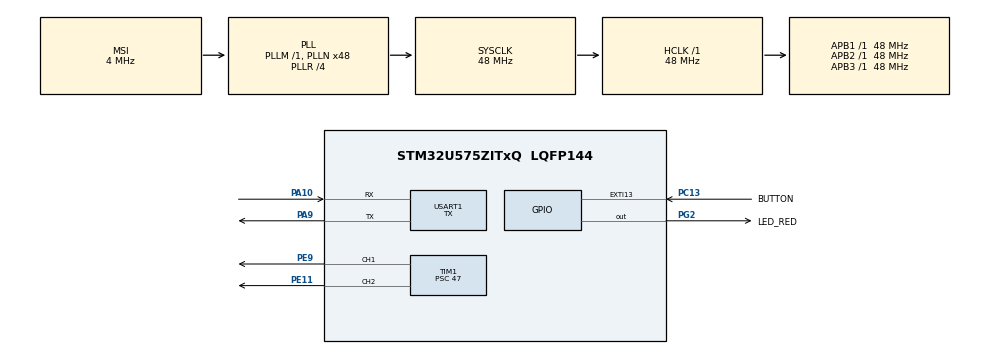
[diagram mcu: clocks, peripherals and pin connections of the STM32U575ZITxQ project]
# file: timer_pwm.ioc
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CORTEX_M33_NS.userName=CORTEX_M33
Mcu.Family=STM32U5
Mcu.Name=STM32U575ZITxQ
Mcu.Package=LQFP144
NVIC.EXTI13_IRQn=true\:5\:0\:true\:false\:true\:true\:true\:true
NVIC.PriorityGroup=NVIC_PRIORITYGROUP_4
PA10.Mode=Asynchronous
PA10.Signal=USART1_RX
PA9.Mode=Asynchronous
PA9.Signal=USART1_TX
PC13.GPIO_Label=BUTTON
PC13.GPIO_ModeDefaultEXTI=GPIO_MODE_IT_RISING_FALLING
PC13.Signal=GPXTI13
PC14-OSC32_IN\ (PC14).Mode=LSE-External-Oscillator
PC14-OSC32_IN\ (PC14).Signal=RCC_OSC32_IN
PC15-OSC32_OUT\ (PC15).Mode=LSE-External-Oscillator
PC15-OSC32_OUT\ (PC15).Signal=RCC_OSC32_OUT
PE11.Signal=S_TIM1_CH2
PE9.Signal=S_TIM1_CH1
PG2.GPIO_Label=LED_RED
PG2.Signal=GPIO_Output
PWR.PowerMode=PWR_SMPS_SUPPLY
ProjectManager.HeapSize=0x200
ProjectManager.StackSize=0x400
ProjectManager.TargetToolchain=STM32CubeIDE
RCC.ADCFreq_Value=16000000
RCC.AHBFreq_Value=48000000
RCC.APB1Freq_Value=48000000
RCC.APB1TimFreq_Value=48000000
RCC.APB2Freq_Value=48000000
RCC.APB2TimFreq_Value=48000000
RCC.APB3Freq_Value=48000000
RCC.CortexFreq_Value=48000000
RCC.EPOD_VALUE=4000000
RCC.HCLKFreq_Value=48000000
RCC.HSE_VALUE=16000000
RCC.HSI48_VALUE=48000000
RCC.HSI_VALUE=16000000
RCC.LSIDIV_VALUE=32000
RCC.MSIAutoCalibration=PLLMODE_MSIS
RCC.MSI_VALUE=4000000
RCC.PLL1R=4
RCC.PLLN=48
RCC.SYSCLKFreq_VALUE=48000000
RCC.SYSCLKSource=RCC_SYSCLKSOURCE_PLLCLK
RCC.USBFreq_Value=48000000
RCC.VCOOutputFreq_Value=192000000
SH.S_TIM1_CH1.0=TIM1_CH1,PWM Generation1 CH1
SH.S_TIM1_CH2.0=TIM1_CH2,PWM Generation2 CH2
TIM1.Channel-PWM\ Generation1\ CH1=TIM_CHANNEL_1
TIM1.Channel-PWM\ Generation2\ CH2=TIM_CHANNEL_2
TIM1.PeriodNoDither=999
TIM1.Prescaler=47
USART1.Mode=MODE_TX
USART1.VirtualMode-Asynchronous=VM_ASYNC
VP_ICACHE_VS_ICACHE.Mode=DirectMappedCache
VP_LPBAMQUEUE_VS_QUEUE.Mode=QUEUEMODE
VP_LPBAM_VS_SIG1.Mode=SmartRun
VP_LPBAM_VS_SIG4.Mode=LPDMA1
VP_MEMORYMAP_VS_MEMORYMAP.Mode=CurAppReg
VP_PWR_VS_LPOM.Mode=PowerOptimisation
VP_PWR_VS_SECSignals.Mode=Security/Privilege
board=custom

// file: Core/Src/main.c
/* USER CODE BEGIN Header */
/**
  ******************************************************************************
  * @file           : main.c
  * @brief          : Main program body
  ******************************************************************************
  * @attention
  *
  * Copyright (c) 2025 STMicroelectronics.
  * All rights reserved.
  *
  * This software is licensed under terms that can be found in the LICENSE file
  * in the root directory of this software component.
  * If no LICENSE file comes with this software, it is provided AS-IS.
  *
  ******************************************************************************
  */
/* USER CODE END Header */
#include "main.h"

/* USER CODE BEGIN Includes */
#include <stdio.h>
#include "interrupt_callbacks.h"
/* USER CODE END Includes */

TIM_HandleTypeDef htim1;

UART_HandleTypeDef huart1;

void SystemClock_Config(void);
static void SystemPower_Config(void);
static void MX_GPIO_Init(void);
static void MX_ICACHE_Init(void);
static void MX_USART1_UART_Init(void);
static void MX_TIM1_Init(void);

int main(void)
{

  /* MCU Configuration--------------------------------------------------------*/

  /* Reset of all peripherals, Initializes the Flash interface and the Systick. */
  HAL_Init();

  /* Configure the System Power */
  SystemPower_Config();

  /* Configure the system clock */
  SystemClock_Config();

  /* Initialize all configured peripherals */
  MX_GPIO_Init();
  MX_ICACHE_Init();
  MX_USART1_UART_Init();
  MX_TIM1_Init();
  /* USER CODE BEGIN 2 */
  printf("\r******* Start *******\r\n");
  __HAL_TIM_SET_COMPARE(&htim1, TIM_CHANNEL_1, 333U);
  HAL_TIM_PWM_Start(&htim1, TIM_CHANNEL_1);
  __HAL_TIM_SET_COMPARE(&htim1, TIM_CHANNEL_2, 800U);
  HAL_TIM_PWM_Start(&htim1, TIM_CHANNEL_2);
  /* USER CODE END 2 */

  /* Infinite loop */
  /* USER CODE BEGIN WHILE */
  while (1)
  {
	  if (button_rising) {
		  button_rising = 0U;
		  HAL_GPIO_WritePin(LED_RED_GPIO_Port, LED_RED_Pin, GPIO_PIN_SET);
	  }

	  if (button_falling) {
		  button_falling = 0U;
		  HAL_GPIO_WritePin(LED_RED_GPIO_Port, LED_RED_Pin, GPIO_PIN_RESET);
	  }
    /* USER CODE END WHILE */

  }
}

void SystemClock_Config(void)
{
  RCC_OscInitTypeDef RCC_OscInitStruct = {0};
  RCC_ClkInitTypeDef RCC_ClkInitStruct = {0};

  /** Configure the main internal regulator output voltage
  */
  if (HAL_PWREx_ControlVoltageScaling(PWR_REGULATOR_VOLTAGE_SCALE3) != HAL_OK)
  {
    Error_Handler();
  }

  /** Configure LSE Drive Capability
  */
  HAL_PWR_EnableBkUpAccess();
  __HAL_RCC_LSEDRIVE_CONFIG(RCC_LSEDRIVE_LOW);

  /** Initializes the CPU, AHB and APB buses clocks
  */
  RCC_OscInitStruct.OscillatorType = RCC_OSCILLATORTYPE_LSE|RCC_OSCILLATORTYPE_MSI;
  RCC_OscInitStruct.LSEState = RCC_LSE_ON;
  RCC_OscInitStruct.MSIState = RCC_MSI_ON;
  RCC_OscInitStruct.MSICalibrationValue = RCC_MSICALIBRATION_DEFAULT;
  RCC_OscInitStruct.MSIClockRange = RCC_MSIRANGE_4;
  RCC_OscInitStruct.PLL.PLLState = RCC_PLL_ON;
  RCC_OscInitStruct.PLL.PLLSource = RCC_PLLSOURCE_MSI;
  RCC_OscInitStruct.PLL.PLLMBOOST = RCC_PLLMBOOST_DIV1;
  RCC_OscInitStruct.PLL.PLLM = 1;
  RCC_OscInitStruct.PLL.PLLN = 48;
  RCC_OscInitStruct.PLL.PLLP = 2;
  RCC_OscInitStruct.PLL.PLLQ = 2;
  RCC_OscInitStruct.PLL.PLLR = 4;
  RCC_OscInitStruct.PLL.PLLRGE = RCC_PLLVCIRANGE_0;
  RCC_OscInitStruct.PLL.PLLFRACN = 0;
  if (HAL_RCC_OscConfig(&RCC_OscInitStruct) != HAL_OK)
  {
    Error_Handler();
  }

  /** Initializes the CPU, AHB and APB buses clocks
  */
  RCC_ClkInitStruct.ClockType = RCC_CLOCKTYPE_HCLK|RCC_CLOCKTYPE_SYSCLK
                              |RCC_CLOCKTYPE_PCLK1|RCC_CLOCKTYPE_PCLK2
                              |RCC_CLOCKTYPE_PCLK3;
  RCC_ClkInitStruct.SYSCLKSource = RCC_SYSCLKSOURCE_PLLCLK;
  RCC_ClkInitStruct.AHBCLKDivider = RCC_SYSCLK_DIV1;
  RCC_ClkInitStruct.APB1CLKDivider = RCC_HCLK_DIV1;
  RCC_ClkInitStruct.APB2CLKDivider = RCC_HCLK_DIV1;
  RCC_ClkInitStruct.APB3CLKDivider = RCC_HCLK_DIV1;

  if (HAL_RCC_ClockConfig(&RCC_ClkInitStruct, FLASH_LATENCY_1) != HAL_OK)
  {
    Error_Handler();
  }

  /** Enable MSI Auto calibration
  */
  HAL_RCCEx_EnableMSIPLLModeSelection(RCC_MSISPLL_MODE_SEL);
  HAL_RCCEx_EnableMSIPLLMode();
}

/**
  * @brief Power Configuration
  * @retval None
  */
static void SystemPower_Config(void)
{
  HAL_PWREx_EnableVddIO2();

  /*
   * Switch to SMPS regulator instead of LDO
   */
  if (HAL_PWREx_ConfigSupply(PWR_SMPS_SUPPLY) != HAL_OK)
  {
    Error_Handler();
  }
}

static void MX_ICACHE_Init(void)
{

  /** Enable instruction cache in 1-way (direct mapped cache)
  */
  if (HAL_ICACHE_ConfigAssociativityMode(ICACHE_1WAY) != HAL_OK)
  {
    Error_Handler();
  }
  if (HAL_ICACHE_Enable() != HAL_OK)
  {
    Error_Handler();
  }

}

static void MX_TIM1_Init(void)
{

  TIM_MasterConfigTypeDef sMasterConfig = {0};
  TIM_OC_InitTypeDef sConfigOC = {0};
  TIM_BreakDeadTimeConfigTypeDef sBreakDeadTimeConfig = {0};

  htim1.Instance = TIM1;
  htim1.Init.Prescaler = 47;
  htim1.Init.CounterMode = TIM_COUNTERMODE_UP;
  htim1.Init.Period = 999;
  htim1.Init.ClockDivision = TIM_CLOCKDIVISION_DIV1;
  htim1.Init.RepetitionCounter = 0;
  htim1.Init.AutoReloadPreload = TIM_AUTORELOAD_PRELOAD_DISABLE;
  if (HAL_TIM_PWM_Init(&htim1) != HAL_OK)
  {
    Error_Handler();
  }
  sMasterConfig.MasterOutputTrigger = TIM_TRGO_RESET;
  sMasterConfig.MasterOutputTrigger2 = TIM_TRGO2_RESET;
  sMasterConfig.MasterSlaveMode = TIM_MASTERSLAVEMODE_DISABLE;
  if (HAL_TIMEx_MasterConfigSynchronization(&htim1, &sMasterConfig) != HAL_OK)
  {
    Error_Handler();
  }
  sConfigOC.OCMode = TIM_OCMODE_PWM1;
  sConfigOC.Pulse = 0;
  sConfigOC.OCPolarity = TIM_OCPOLARITY_HIGH;
  sConfigOC.OCNPolarity = TIM_OCNPOLARITY_HIGH;
  sConfigOC.OCFastMode = TIM_OCFAST_DISABLE;
  sConfigOC.OCIdleState = TIM_OCIDLESTATE_RESET;
  sConfigOC.OCNIdleState = TIM_OCNIDLESTATE_RESET;
  if (HAL_TIM_PWM_ConfigChannel(&htim1, &sConfigOC, TIM_CHANNEL_1) != HAL_OK)
  {
    Error_Handler();
  }
  if (HAL_TIM_PWM_ConfigChannel(&htim1, &sConfigOC, TIM_CHANNEL_2) != HAL_OK)
  {
    Error_Handler();
  }
  sBreakDeadTimeConfig.OffStateRunMode = TIM_OSSR_DISABLE;
  sBreakDeadTimeConfig.OffStateIDLEMode = TIM_OSSI_DISABLE;
  sBreakDeadTimeConfig.LockLevel = TIM_LOCKLEVEL_OFF;
  sBreakDeadTimeConfig.DeadTime = 0;
  sBreakDeadTimeConfig.BreakState = TIM_BREAK_DISABLE;
  sBreakDeadTimeConfig.BreakPolarity = TIM_BREAKPOLARITY_HIGH;
  sBreakDeadTimeConfig.BreakFilter = 0;
  sBreakDeadTimeConfig.BreakAFMode = TIM_BREAK_AFMODE_INPUT;
  sBreakDeadTimeConfig.Break2State = TIM_BREAK2_DISABLE;
  sBreakDeadTimeConfig.Break2Polarity = TIM_BREAK2POLARITY_HIGH;
  sBreakDeadTimeConfig.Break2Filter = 0;
  sBreakDeadTimeConfig.Break2AFMode = TIM_BREAK_AFMODE_INPUT;
  sBreakDeadTimeConfig.AutomaticOutput = TIM_AUTOMATICOUTPUT_DISABLE;
  if (HAL_TIMEx_ConfigBreakDeadTime(&htim1, &sBreakDeadTimeConfig) != HAL_OK)
  {
    Error_Handler();
  }
  HAL_TIM_MspPostInit(&htim1);

}

static void MX_USART1_UART_Init(void)
{

  huart1.Instance = USART1;
  huart1.Init.BaudRate = 115200;
  huart1.Init.WordLength = UART_WORDLENGTH_8B;
  huart1.Init.StopBits = UART_STOPBITS_1;
  huart1.Init.Parity = UART_PARITY_NONE;
  huart1.Init.Mode = UART_MODE_TX;
  huart1.Init.HwFlowCtl = UART_HWCONTROL_NONE;
  huart1.Init.OverSampling = UART_OVERSAMPLING_16;
  huart1.Init.OneBitSampling = UART_ONE_BIT_SAMPLE_DISABLE;
  huart1.Init.ClockPrescaler = UART_PRESCALER_DIV1;
  huart1.AdvancedInit.AdvFeatureInit = UART_ADVFEATURE_NO_INIT;
  if (HAL_UART_Init(&huart1) != HAL_OK)
  {
    Error_Handler();
  }
  if (HAL_UARTEx_SetTxFifoThreshold(&huart1, UART_TXFIFO_THRESHOLD_1_8) != HAL_OK)
  {
    Error_Handler();
  }
  if (HAL_UARTEx_SetRxFifoThreshold(&huart1, UART_RXFIFO_THRESHOLD_1_8) != HAL_OK)
  {
    Error_Handler();
  }
  if (HAL_UARTEx_DisableFifoMode(&huart1) != HAL_OK)
  {
    Error_Handler();
  }

}

static void MX_GPIO_Init(void)
{
  GPIO_InitTypeDef GPIO_InitStruct = {0};

  /* GPIO Ports Clock Enable */
  __HAL_RCC_GPIOC_CLK_ENABLE();
  __HAL_RCC_GPIOE_CLK_ENABLE();
  __HAL_RCC_GPIOG_CLK_ENABLE();
  __HAL_RCC_GPIOA_CLK_ENABLE();

  /*Configure GPIO pin Output Level */
  HAL_GPIO_WritePin(LED_RED_GPIO_Port, LED_RED_Pin, GPIO_PIN_RESET);

  /*Configure GPIO pin : BUTTON_Pin */
  GPIO_InitStruct.Pin = BUTTON_Pin;
  GPIO_InitStruct.Mode = GPIO_MODE_IT_RISING_FALLING;
  GPIO_InitStruct.Pull = GPIO_NOPULL;
  HAL_GPIO_Init(BUTTON_GPIO_Port, &GPIO_InitStruct);

  /*Configure GPIO pin : LED_RED_Pin */
  GPIO_InitStruct.Pin = LED_RED_Pin;
  GPIO_InitStruct.Mode = GPIO_MODE_OUTPUT_PP;
  GPIO_InitStruct.Pull = GPIO_NOPULL;
  GPIO_InitStruct.Speed = GPIO_SPEED_FREQ_LOW;
  HAL_GPIO_Init(LED_RED_GPIO_Port, &GPIO_InitStruct);

  /* EXTI interrupt init*/
  HAL_NVIC_SetPriority(EXTI13_IRQn, 5, 0);
  HAL_NVIC_EnableIRQ(EXTI13_IRQn);

}

/* USER CODE BEGIN 4 */
int __io_putchar(int ch)
{
	// Transmit 1 character over UART
	HAL_UART_Transmit(&huart1, (uint8_t*)&ch, 1U, HAL_MAX_DELAY);

	return ch;
}
/* USER CODE END 4 */

void Error_Handler(void)
{
  __disable_irq();
  while (1)
  {
  }
}
